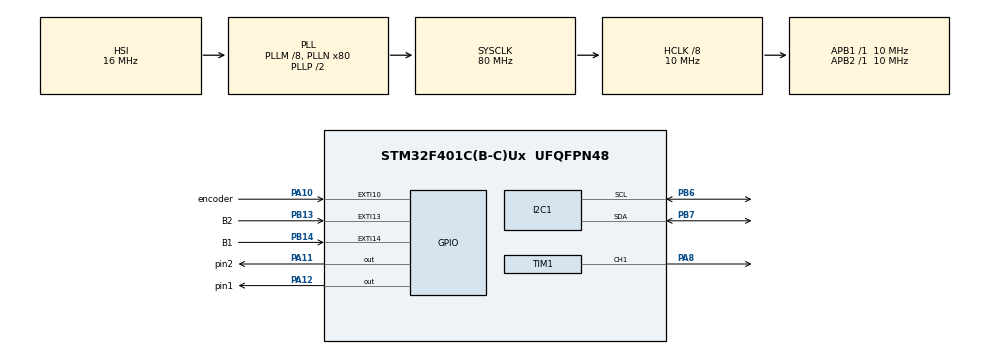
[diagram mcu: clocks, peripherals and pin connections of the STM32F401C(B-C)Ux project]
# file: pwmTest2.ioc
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I2C1.I2C_Mode=I2C_Fast
Mcu.Family=STM32F4
Mcu.Name=STM32F401C(B-C)Ux
Mcu.Package=UFQFPN48
NVIC.EXTI15_10_IRQn=true\:0\:0\:false\:false\:true\:true\:true\:true
NVIC.PriorityGroup=NVIC_PRIORITYGROUP_4
PA10.GPIO_Label=encoder
PA10.GPIO_PuPd=GPIO_PULLDOWN
PA10.Signal=GPXTI10
PA11.GPIO_Label=pin2
PA11.Signal=GPIO_Output
PA12.GPIO_Label=pin1
PA12.Signal=GPIO_Output
PA8.Signal=S_TIM1_CH1
PB13.GPIO_Label=B2
PB13.GPIO_PuPd=GPIO_PULLDOWN
PB13.Signal=GPXTI13
PB14.GPIO_Label=B1
PB14.GPIO_PuPd=GPIO_PULLDOWN
PB14.Signal=GPXTI14
PB6.Mode=I2C
PB6.Signal=I2C1_SCL
PB7.Mode=I2C
PB7.Signal=I2C1_SDA
ProjectManager.HeapSize=0x200
ProjectManager.StackSize=0x400
ProjectManager.TargetToolchain=STM32CubeIDE
RCC.48MHZClocksFreq_Value=40000000
RCC.AHBCLKDivider=RCC_SYSCLK_DIV8
RCC.AHBFreq_Value=10000000
RCC.APB1Freq_Value=10000000
RCC.APB1TimFreq_Value=10000000
RCC.APB2Freq_Value=10000000
RCC.APB2TimFreq_Value=10000000
RCC.CortexFreq_Value=10000000
RCC.HCLKFreq_Value=10000000
RCC.HSE_VALUE=25000000
RCC.HSI_VALUE=16000000
RCC.LSE_VALUE=32768
RCC.PLLM=8
RCC.PLLN=80
RCC.SYSCLKFreq_VALUE=80000000
RCC.SYSCLKSource=RCC_SYSCLKSOURCE_PLLCLK
RCC.VCOOutputFreq_Value=160000000
SH.S_TIM1_CH1.0=TIM1_CH1,PWM Generation1 CH1
TIM1.Channel-PWM\ Generation1\ CH1=TIM_CHANNEL_1
TIM1.Period=5000
TIM1.Prescaler=1
VP_TIM1_VS_ClockSourceINT.Mode=Internal
VP_TIM2_VS_ClockSourceINT.Mode=Internal
board=custom

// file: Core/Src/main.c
/* USER CODE BEGIN Header */
/**
  ******************************************************************************
  * @file           : main.c
  * @brief          : Main program body
  ******************************************************************************
  * @attention
  *
  * Copyright (c) 2024 STMicroelectronics.
  * All rights reserved.
  *
  * This software is licensed under terms that can be found in the LICENSE file
  * in the root directory of this software component.
  * If no LICENSE file comes with this software, it is provided AS-IS.
  *
  ******************************************************************************
  */
/* USER CODE END Header */
#include "main.h"

/* USER CODE BEGIN PTD */

// struct to hold running paremeters of the motor
struct motor_status_t
{
  int is_running;  // true if the motor is being used
  int curr_count;   // holds the current count of tim2 counter (used in encoder)
  int rpm;          // holds speed of motor
  int direction;    // holds directiion: 1 if forward | 0 if backward
};

typedef struct motor_status_t motor_status_t;

// declaring global variable for motor
motor_status_t motor1;

/* USER CODE END PTD */

I2C_HandleTypeDef hi2c1;

TIM_HandleTypeDef htim1;
TIM_HandleTypeDef htim2;

void SystemClock_Config(void);
static void MX_GPIO_Init(void);
static void MX_TIM1_Init(void);
static void MX_TIM2_Init(void);
static void MX_I2C1_Init(void);
/* USER CODE BEGIN PFP */
void init_motor(void);
void intiTim2(void);
/* USER CODE END PFP */

int main(void)
{

  /* MCU Configuration--------------------------------------------------------*/

  /* Reset of all peripherals, Initializes the Flash interface and the Systick. */
  HAL_Init();

  /* USER CODE BEGIN Init */

  // initials motor1 variable
  init_motor();
  /* USER CODE END Init */

  /* Configure the system clock */
  SystemClock_Config();

  /* Initialize all configured peripherals */
  MX_GPIO_Init();
  MX_TIM1_Init();
  MX_TIM2_Init();
  MX_I2C1_Init();
  /* USER CODE BEGIN 2 */
  TIM1->CCR1 = 500;
  HAL_TIM_PWM_Start(&htim1, TIM_CHANNEL_1);
  TIM1->CCR1 = 3500;
  HAL_GPIO_WritePin(GPIOA,pin1_Pin,0);
  HAL_GPIO_WritePin(GPIOA,pin2_Pin,1);
  int i = 4000;
  /* USER CODE END 2 */

  /* Infinite loop */
  /* USER CODE BEGIN WHILE */
  while (1)
  {
//	  i = (i==4000) ? 2000 : 4000;
//	  TIM1->CCR1 = i;
//	  HAL_Delay(2000);

//	  if(flag){
//		  i++;
//	  }
//	  else i--;
//	  if (i==4500 || i==0) flag = ~flag;
//
//	  TIM1->CCR1 = i;
//	  HAL_TIM_PWM_Start(&htim1, TIM_CHANNEL_1);

    /* USER CODE END WHILE */

  }
}

void SystemClock_Config(void)
{
  RCC_OscInitTypeDef RCC_OscInitStruct = {0};
  RCC_ClkInitTypeDef RCC_ClkInitStruct = {0};

  /** Configure the main internal regulator output voltage
  */
  __HAL_RCC_PWR_CLK_ENABLE();
  __HAL_PWR_VOLTAGESCALING_CONFIG(PWR_REGULATOR_VOLTAGE_SCALE2);

  /** Initializes the RCC Oscillators according to the specified parameters
  * in the RCC_OscInitTypeDef structure.
  */
  RCC_OscInitStruct.OscillatorType = RCC_OSCILLATORTYPE_HSI;
  RCC_OscInitStruct.HSIState = RCC_HSI_ON;
  RCC_OscInitStruct.HSICalibrationValue = RCC_HSICALIBRATION_DEFAULT;
  RCC_OscInitStruct.PLL.PLLState = RCC_PLL_ON;
  RCC_OscInitStruct.PLL.PLLSource = RCC_PLLSOURCE_HSI;
  RCC_OscInitStruct.PLL.PLLM = 8;
  RCC_OscInitStruct.PLL.PLLN = 80;
  RCC_OscInitStruct.PLL.PLLP = RCC_PLLP_DIV2;
  RCC_OscInitStruct.PLL.PLLQ = 4;
  if (HAL_RCC_OscConfig(&RCC_OscInitStruct) != HAL_OK)
  {
    Error_Handler();
  }

  /** Initializes the CPU, AHB and APB buses clocks
  */
  RCC_ClkInitStruct.ClockType = RCC_CLOCKTYPE_HCLK|RCC_CLOCKTYPE_SYSCLK
                              |RCC_CLOCKTYPE_PCLK1|RCC_CLOCKTYPE_PCLK2;
  RCC_ClkInitStruct.SYSCLKSource = RCC_SYSCLKSOURCE_PLLCLK;
  RCC_ClkInitStruct.AHBCLKDivider = RCC_SYSCLK_DIV8;
  RCC_ClkInitStruct.APB1CLKDivider = RCC_HCLK_DIV1;
  RCC_ClkInitStruct.APB2CLKDivider = RCC_HCLK_DIV1;

  if (HAL_RCC_ClockConfig(&RCC_ClkInitStruct, FLASH_LATENCY_0) != HAL_OK)
  {
    Error_Handler();
  }
}

static void MX_I2C1_Init(void)
{

  hi2c1.Instance = I2C1;
  hi2c1.Init.ClockSpeed = 400000;
  hi2c1.Init.DutyCycle = I2C_DUTYCYCLE_2;
  hi2c1.Init.OwnAddress1 = 0;
  hi2c1.Init.AddressingMode = I2C_ADDRESSINGMODE_7BIT;
  hi2c1.Init.DualAddressMode = I2C_DUALADDRESS_DISABLE;
  hi2c1.Init.OwnAddress2 = 0;
  hi2c1.Init.GeneralCallMode = I2C_GENERALCALL_DISABLE;
  hi2c1.Init.NoStretchMode = I2C_NOSTRETCH_DISABLE;
  if (HAL_I2C_Init(&hi2c1) != HAL_OK)
  {
    Error_Handler();
  }

}

static void MX_TIM1_Init(void)
{

  TIM_ClockConfigTypeDef sClockSourceConfig = {0};
  TIM_MasterConfigTypeDef sMasterConfig = {0};
  TIM_OC_InitTypeDef sConfigOC = {0};
  TIM_BreakDeadTimeConfigTypeDef sBreakDeadTimeConfig = {0};

  htim1.Instance = TIM1;
  htim1.Init.Prescaler = 1;
  htim1.Init.CounterMode = TIM_COUNTERMODE_UP;
  htim1.Init.Period = 5000;
  htim1.Init.ClockDivision = TIM_CLOCKDIVISION_DIV1;
  htim1.Init.RepetitionCounter = 0;
  htim1.Init.AutoReloadPreload = TIM_AUTORELOAD_PRELOAD_DISABLE;
  if (HAL_TIM_Base_Init(&htim1) != HAL_OK)
  {
    Error_Handler();
  }
  sClockSourceConfig.ClockSource = TIM_CLOCKSOURCE_INTERNAL;
  if (HAL_TIM_ConfigClockSource(&htim1, &sClockSourceConfig) != HAL_OK)
  {
    Error_Handler();
  }
  if (HAL_TIM_PWM_Init(&htim1) != HAL_OK)
  {
    Error_Handler();
  }
  sMasterConfig.MasterOutputTrigger = TIM_TRGO_RESET;
  sMasterConfig.MasterSlaveMode = TIM_MASTERSLAVEMODE_DISABLE;
  if (HAL_TIMEx_MasterConfigSynchronization(&htim1, &sMasterConfig) != HAL_OK)
  {
    Error_Handler();
  }
  sConfigOC.OCMode = TIM_OCMODE_PWM1;
  sConfigOC.Pulse = 0;
  sConfigOC.OCPolarity = TIM_OCPOLARITY_HIGH;
  sConfigOC.OCNPolarity = TIM_OCNPOLARITY_HIGH;
  sConfigOC.OCFastMode = TIM_OCFAST_DISABLE;
  sConfigOC.OCIdleState = TIM_OCIDLESTATE_RESET;
  sConfigOC.OCNIdleState = TIM_OCNIDLESTATE_RESET;
  if (HAL_TIM_PWM_ConfigChannel(&htim1, &sConfigOC, TIM_CHANNEL_1) != HAL_OK)
  {
    Error_Handler();
  }
  sBreakDeadTimeConfig.OffStateRunMode = TIM_OSSR_DISABLE;
  sBreakDeadTimeConfig.OffStateIDLEMode = TIM_OSSI_DISABLE;
  sBreakDeadTimeConfig.LockLevel = TIM_LOCKLEVEL_OFF;
  sBreakDeadTimeConfig.DeadTime = 0;
  sBreakDeadTimeConfig.BreakState = TIM_BREAK_DISABLE;
  sBreakDeadTimeConfig.BreakPolarity = TIM_BREAKPOLARITY_HIGH;
  sBreakDeadTimeConfig.AutomaticOutput = TIM_AUTOMATICOUTPUT_DISABLE;
  if (HAL_TIMEx_ConfigBreakDeadTime(&htim1, &sBreakDeadTimeConfig) != HAL_OK)
  {
    Error_Handler();
  }
  HAL_TIM_MspPostInit(&htim1);

}

static void MX_TIM2_Init(void)
{

  TIM_ClockConfigTypeDef sClockSourceConfig = {0};
  TIM_MasterConfigTypeDef sMasterConfig = {0};

  htim2.Instance = TIM2;
  htim2.Init.Prescaler = 0;
  htim2.Init.CounterMode = TIM_COUNTERMODE_UP;
  htim2.Init.Period = 4294967295;
  htim2.Init.ClockDivision = TIM_CLOCKDIVISION_DIV1;
  htim2.Init.AutoReloadPreload = TIM_AUTORELOAD_PRELOAD_DISABLE;
  if (HAL_TIM_Base_Init(&htim2) != HAL_OK)
  {
    Error_Handler();
  }
  sClockSourceConfig.ClockSource = TIM_CLOCKSOURCE_INTERNAL;
  if (HAL_TIM_ConfigClockSource(&htim2, &sClockSourceConfig) != HAL_OK)
  {
    Error_Handler();
  }
  sMasterConfig.MasterOutputTrigger = TIM_TRGO_RESET;
  sMasterConfig.MasterSlaveMode = TIM_MASTERSLAVEMODE_DISABLE;
  if (HAL_TIMEx_MasterConfigSynchronization(&htim2, &sMasterConfig) != HAL_OK)
  {
    Error_Handler();
  }

}

static void MX_GPIO_Init(void)
{
  GPIO_InitTypeDef GPIO_InitStruct = {0};

  /* GPIO Ports Clock Enable */
  __HAL_RCC_GPIOB_CLK_ENABLE();
  __HAL_RCC_GPIOA_CLK_ENABLE();

  /*Configure GPIO pin Output Level */
  HAL_GPIO_WritePin(GPIOA, pin2_Pin|pin1_Pin, GPIO_PIN_RESET);

  /*Configure GPIO pins : B2_Pin B1_Pin */
  GPIO_InitStruct.Pin = B2_Pin|B1_Pin;
  GPIO_InitStruct.Mode = GPIO_MODE_IT_RISING;
  GPIO_InitStruct.Pull = GPIO_PULLDOWN;
  HAL_GPIO_Init(GPIOB, &GPIO_InitStruct);

  /*Configure GPIO pin : encoder_Pin */
  GPIO_InitStruct.Pin = encoder_Pin;
  GPIO_InitStruct.Mode = GPIO_MODE_IT_RISING;
  GPIO_InitStruct.Pull = GPIO_PULLDOWN;
  HAL_GPIO_Init(encoder_GPIO_Port, &GPIO_InitStruct);

  /*Configure GPIO pins : pin2_Pin pin1_Pin */
  GPIO_InitStruct.Pin = pin2_Pin|pin1_Pin;
  GPIO_InitStruct.Mode = GPIO_MODE_OUTPUT_PP;
  GPIO_InitStruct.Pull = GPIO_NOPULL;
  GPIO_InitStruct.Speed = GPIO_SPEED_FREQ_LOW;
  HAL_GPIO_Init(GPIOA, &GPIO_InitStruct);

  /* EXTI interrupt init*/
  HAL_NVIC_SetPriority(EXTI15_10_IRQn, 0, 0);
  HAL_NVIC_EnableIRQ(EXTI15_10_IRQn);

}

/* USER CODE BEGIN 4 */
void init_motor(void){
  motor1.curr_count=0;
  motor1.direction=0;
  motor1.rpm = 0;
  motor1.is_running = 0;
}

void intiTim2(void){

	// Enable TIM2 clock
	RCC->APB1ENR |= (1u << 0);

	// Set Pre-scaler value to 0
	TIM2->PSC = 0;

	// Set timer reload value
	//Default internal clk (HSI) runs at 16MHz
	// Setting auto reload register to reset every second
	TIM2->ARR = (uint32_t)16000000;

	// Set initial timer value
	TIM2->CNT = 0;

	// Enable timer 2
	TIM2->CR1 |= (1u << 0);

}

void HAL_GPIO_EXTI_Callback(uint16_t GPIO_Pin)
{
	if (GPIO_Pin == B2_Pin)
	{
		TIM1->CCR1 = 0;
//		__HAL_GPIO_EXTI_CLEAR_IT(GPIO_Pin);

	}
	else if (GPIO_Pin == B1_Pin)
	{
		TIM1->CCR1 = 4000;
//		__HAL_GPIO_EXTI_CLEAR_IT(GPIO_Pin);

	}else if(GPIO_Pin == encoder_Pin){

     motor1.curr_count = TIM2->CNT;
     TIM2->CNT = 0;

     int time_elapsed = motor1.curr_count / 16000u;
     motor1.rpm = 60000/time_elapsed;
  }
}
/* USER CODE END 4 */

void Error_Handler(void)
{
  __disable_irq();
  while (1)
  {
  }
}
